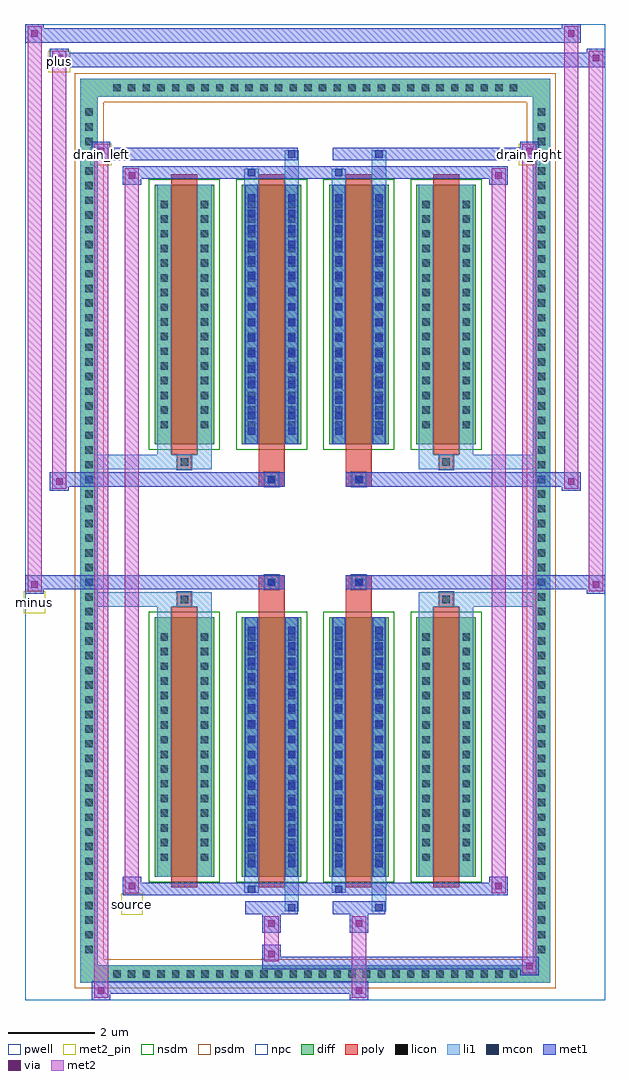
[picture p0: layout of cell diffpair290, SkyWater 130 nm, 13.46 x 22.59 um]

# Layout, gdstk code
import gdstk
lib = gdstk.Library(unit=1e-6, precision=5e-09)
def R(c, l, rs):  # rectangles x0, y0, x1, y1
    for r in rs: c.add(gdstk.rectangle(r[:2], r[2:], *l))
def A(c, l, x, y, w, h, nx, ny, dx, dy):  # array of equal rectangles
    R(c, l, [(x+i*dx, y+j*dy, x+i*dx+w, y+j*dy+h) for i in range(nx) for j in range(ny)])
def P(c, l, *ps):  # polygons
    for p in ps: c.add(gdstk.Polygon(p, *l))
pwell = (64, 44)
diff = (65, 20)
poly = (66, 20)
licon = (66, 44)
li1 = (67, 20)
mcon = (67, 44)
met1 = (68, 20)
via = (68, 44)
met2_pin = (69, 16)
met2 = (69, 20)
nsdm = (93, 44)
psdm = (94, 20)
npc = (95, 20)

diffpair290 = lib.new_cell('diffpair290')
R(diffpair290, pwell, [(-6.71,-10.86,6.71,11.73), (-4.03,-9.05,-0.01,-0.825), (0.01,-9.05,4.03,-0.825), (-4.03,0.825,-0.01,9.05), (0.01,0.825,4.03,9.05)])
A(diffpair290, diff, -4.795, -10.46, 0.41, 0.41, 28, 2, 0.34, 20.51)
A(diffpair290, diff, -5.44, -9.895, 0.41, 0.41, 1, 58, 0, 0.34)
A(diffpair290, diff, 5.03, -9.895, 0.41, 0.41, 1, 58, 0, 0.34)
A(diffpair290, diff, -3.72, -8.005, 1.38, 6, 4, 2, 2.02, 10.01)
R(diffpair290, diff, [(-4.795,-10.46,4.795,-10.05), (-5.44,-9.895,-5.03,9.895), (5.03,-9.895,5.44,9.895), (-4.795,10.05,4.795,10.46)])
P(diffpair290, diff, [(5.44,10.46),(-5.44,10.46),(-5.44,-10.05),(-5.03,-10.05),(-5.03,10.05),(5.03,10.05),(5.03,-10.05),(-5.03,-10.05),(-5.44,-10.05),(-5.44,-10.46),(5.44,-10.46)])
A(diffpair290, poly, -3.33, -8.255, 0.6, 6.5, 4, 2, 2.02, 10.01)
R(diffpair290, poly, [(-3.195,-1.755,-2.865,-1.425), (-3.195,-1.755,-2.865,-1.425), (-1.31,-1.755,-0.71,-1.355), (0.71,-1.755,1.31,-1.355), (2.865,-1.755,3.195,-1.425), (2.865,-1.755,3.195,-1.425), (-1.31,-1.355,-0.71,-1.025), (-1.175,-1.355,-0.845,-1.025), (0.71,-1.355,1.31,-1.025), (0.845,-1.355,1.175,-1.025), (-1.31,1.025,-0.71,1.355), (-1.175,1.025,-0.845,1.355), (0.71,1.025,1.31,1.355), (0.845,1.025,1.175,1.355), (-1.31,1.355,-0.71,1.755), (0.71,1.355,1.31,1.755), (-3.195,1.425,-2.865,1.755), (-3.195,1.425,-2.865,1.755), (2.865,1.425,3.195,1.755), (2.865,1.425,3.195,1.755)])
A(diffpair290, licon, -4.675, -10.34, 0.17, 0.17, 28, 2, 0.34, 20.51)
A(diffpair290, licon, -5.32, -9.775, 0.17, 0.17, 1, 58, 0, 0.34)
A(diffpair290, licon, 5.15, -9.775, 0.17, 0.17, 1, 58, 0, 0.34)
A(diffpair290, licon, -3.58, -7.64, 0.17, 0.17, 1, 16, 0, 0.34)
A(diffpair290, licon, -2.65, -7.64, 0.17, 0.17, 1, 16, 0, 0.34)
A(diffpair290, licon, -1.56, -7.64, 0.17, 0.17, 1, 16, 0, 0.34)
A(diffpair290, licon, -0.63, -7.64, 0.17, 0.17, 1, 16, 0, 0.34)
A(diffpair290, licon, 0.46, -7.64, 0.17, 0.17, 1, 16, 0, 0.34)
A(diffpair290, licon, 1.39, -7.64, 0.17, 0.17, 1, 16, 0, 0.34)
A(diffpair290, licon, 2.48, -7.64, 0.17, 0.17, 1, 16, 0, 0.34)
A(diffpair290, licon, 3.41, -7.64, 0.17, 0.17, 1, 16, 0, 0.34)
A(diffpair290, licon, -3.58, 2.37, 0.17, 0.17, 1, 16, 0, 0.34)
A(diffpair290, licon, -2.65, 2.37, 0.17, 0.17, 1, 16, 0, 0.34)
A(diffpair290, licon, -1.56, 2.37, 0.17, 0.17, 1, 16, 0, 0.34)
A(diffpair290, licon, -0.63, 2.37, 0.17, 0.17, 1, 16, 0, 0.34)
A(diffpair290, licon, 0.46, 2.37, 0.17, 0.17, 1, 16, 0, 0.34)
A(diffpair290, licon, 1.39, 2.37, 0.17, 0.17, 1, 16, 0, 0.34)
A(diffpair290, licon, 2.48, 2.37, 0.17, 0.17, 1, 16, 0, 0.34)
A(diffpair290, licon, 3.41, 2.37, 0.17, 0.17, 1, 16, 0, 0.34)
R(diffpair290, licon, [(-3.115,-1.675,-2.945,-1.505), (2.945,-1.675,3.115,-1.505), (-1.095,-1.275,-0.925,-1.105), (0.925,-1.275,1.095,-1.105), (-1.095,1.105,-0.925,1.275), (0.925,1.105,1.095,1.275), (-3.115,1.505,-2.945,1.675), (2.945,1.505,3.115,1.675)])
A(diffpair290, li1, -4.755, -10.42, 0.33, 0.33, 28, 2, 0.34, 20.51)
A(diffpair290, li1, -5.4, -9.855, 0.33, 0.33, 1, 58, 0, 0.34)
A(diffpair290, li1, 5.07, -9.855, 0.33, 0.33, 1, 58, 0, 0.34)
A(diffpair290, li1, -1.56, -7.79, 0.17, 0.17, 1, 16, 0, 0.36)
A(diffpair290, li1, -0.63, -7.79, 0.17, 0.17, 1, 16, 0, 0.36)
A(diffpair290, li1, 0.46, -7.79, 0.17, 0.17, 1, 16, 0, 0.36)
A(diffpair290, li1, 1.39, -7.79, 0.17, 0.17, 1, 16, 0, 0.36)
A(diffpair290, li1, -3.66, -7.72, 0.33, 0.33, 1, 16, 0, 0.34)
A(diffpair290, li1, -2.73, -7.72, 0.33, 0.33, 1, 16, 0, 0.34)
A(diffpair290, li1, -1.64, -7.72, 0.33, 0.33, 1, 16, 0, 0.34)
A(diffpair290, li1, -0.71, -7.72, 0.33, 0.33, 1, 16, 0, 0.34)
A(diffpair290, li1, 0.38, -7.72, 0.33, 0.33, 1, 16, 0, 0.34)
A(diffpair290, li1, 1.31, -7.72, 0.33, 0.33, 1, 16, 0, 0.34)
A(diffpair290, li1, 2.4, -7.72, 0.33, 0.33, 1, 16, 0, 0.34)
A(diffpair290, li1, 3.33, -7.72, 0.33, 0.33, 1, 16, 0, 0.34)
A(diffpair290, li1, -1.56, 2.22, 0.17, 0.17, 1, 16, 0, 0.36)
A(diffpair290, li1, -0.63, 2.22, 0.17, 0.17, 1, 16, 0, 0.36)
A(diffpair290, li1, 0.46, 2.22, 0.17, 0.17, 1, 16, 0, 0.36)
A(diffpair290, li1, 1.39, 2.22, 0.17, 0.17, 1, 16, 0, 0.36)
A(diffpair290, li1, -3.66, 2.29, 0.33, 0.33, 1, 16, 0, 0.34)
A(diffpair290, li1, -2.73, 2.29, 0.33, 0.33, 1, 16, 0, 0.34)
A(diffpair290, li1, -1.64, 2.29, 0.33, 0.33, 1, 16, 0, 0.34)
A(diffpair290, li1, -0.71, 2.29, 0.33, 0.33, 1, 16, 0, 0.34)
A(diffpair290, li1, 0.38, 2.29, 0.33, 0.33, 1, 16, 0, 0.34)
A(diffpair290, li1, 1.31, 2.29, 0.33, 0.33, 1, 16, 0, 0.34)
A(diffpair290, li1, 2.4, 2.29, 0.33, 0.33, 1, 16, 0, 0.34)
A(diffpair290, li1, 3.33, 2.29, 0.33, 0.33, 1, 16, 0, 0.34)
R(diffpair290, li1, [(-5.44,-10.46,-5.03,-10.05), (-5.44,-10.46,-5.03,-10.05), (-5.03,-10.46,5.03,-10.05), (5.03,-10.46,5.44,-10.05), (5.03,-10.46,5.44,-10.05), (-5.44,-10.05,-5.03,10.05), (5.03,-10.05,5.44,10.05), (-0.71,-8.81,-0.38,-8.005), (-0.63,-8.81,-0.46,-8.64), (1.31,-8.81,1.64,-8.005), (1.39,-8.81,1.56,-8.64), (-1.64,-8.38,-1.31,-8.005), (-1.56,-8.38,-1.39,-8.21), (0.38,-8.38,0.71,-8.005), (0.46,-8.38,0.63,-8.21), (-3.66,-8.005,-3.33,-2.005), (-2.73,-8.005,-2.4,-2.005), (-1.64,-8.005,-1.31,-2.005), (-0.71,-8.005,-0.38,-2.005), (0.38,-8.005,0.71,-2.005), (1.31,-8.005,1.64,-2.005), (2.4,-8.005,2.73,-2.005), (3.33,-8.005,3.66,-2.005), (-1.56,-7.79,-1.39,-2.22), (-0.63,-7.79,-0.46,-2.22), (0.46,-7.79,0.63,-2.22), (1.39,-7.79,1.56,-2.22), (-3.66,-2.005,-3.33,-1.425), (-2.73,-2.005,-2.4,-1.425), (2.4,-2.005,2.73,-1.425), (3.33,-2.005,3.66,-1.425), (-5.44,-1.755,-3.195,-1.425), (-3.66,-1.755,-3.195,-1.425), (-3.195,-1.755,-2.865,-1.425), (-2.865,-1.755,-2.4,-1.425), (2.4,-1.755,2.865,-1.425), (2.865,-1.755,3.195,-1.425), (2.865,-1.755,5.44,-1.425), (3.195,-1.755,3.66,-1.425), (-1.175,-1.355,-0.845,-1.025), (0.845,-1.355,1.175,-1.025), (-1.175,1.025,-0.845,1.355), (0.845,1.025,1.175,1.355), (-5.44,1.425,-3.195,1.755), (-3.66,1.425,-3.195,1.755), (-3.66,1.425,-3.33,2.005), (-3.195,1.425,-2.865,1.755), (-2.865,1.425,-2.4,1.755), (-2.73,1.425,-2.4,2.005), (2.4,1.425,2.865,1.755), (2.4,1.425,2.73,2.005), (2.865,1.425,3.195,1.755), (2.865,1.425,5.44,1.755), (3.195,1.425,3.66,1.755), (3.33,1.425,3.66,2.005), (-3.66,2.005,-3.33,8.005), (-2.73,2.005,-2.4,8.005), (-1.64,2.005,-1.31,8.005), (-0.71,2.005,-0.38,8.005), (0.38,2.005,0.71,8.005), (1.31,2.005,1.64,8.005), (2.4,2.005,2.73,8.005), (3.33,2.005,3.66,8.005), (-1.56,2.22,-1.39,7.79), (-0.63,2.22,-0.46,7.79), (0.46,2.22,0.63,7.79), (1.39,2.22,1.56,7.79), (-1.64,8.005,-1.31,8.38), (-0.71,8.005,-0.38,8.81), (0.38,8.005,0.71,8.38), (1.31,8.005,1.64,8.81), (-1.56,8.21,-1.39,8.38), (0.46,8.21,0.63,8.38), (-0.63,8.64,-0.46,8.81), (1.39,8.64,1.56,8.81), (-5.44,10.05,-5.03,10.46), (-5.44,10.05,-5.03,10.46), (-5.03,10.05,5.03,10.46), (5.03,10.05,5.44,10.46), (5.03,10.05,5.44,10.46)])
A(diffpair290, mcon, -1.56, -7.79, 0.17, 0.17, 1, 16, 0, 0.36)
A(diffpair290, mcon, -0.63, -7.79, 0.17, 0.17, 1, 16, 0, 0.36)
A(diffpair290, mcon, 0.46, -7.79, 0.17, 0.17, 1, 16, 0, 0.36)
A(diffpair290, mcon, 1.39, -7.79, 0.17, 0.17, 1, 16, 0, 0.36)
A(diffpair290, mcon, -1.56, 2.22, 0.17, 0.17, 1, 16, 0, 0.36)
A(diffpair290, mcon, -0.63, 2.22, 0.17, 0.17, 1, 16, 0, 0.36)
A(diffpair290, mcon, 0.46, 2.22, 0.17, 0.17, 1, 16, 0, 0.36)
A(diffpair290, mcon, 1.39, 2.22, 0.17, 0.17, 1, 16, 0, 0.36)
R(diffpair290, mcon, [(-0.63,-8.81,-0.46,-8.64), (1.39,-8.81,1.56,-8.64), (-1.56,-8.38,-1.39,-8.21), (0.46,-8.38,0.63,-8.21), (-1.095,-1.275,-0.925,-1.105), (0.925,-1.275,1.095,-1.105), (-1.095,1.105,-0.925,1.275), (0.925,1.105,1.095,1.275), (-1.56,8.21,-1.39,8.38), (0.46,8.21,0.63,8.38), (-0.63,8.64,-0.46,8.81), (1.39,8.64,1.56,8.81)])
A(diffpair290, met1, -1.62, -7.85, 0.29, 0.29, 1, 16, 0, 0.36)
A(diffpair290, met1, -0.69, -7.85, 0.29, 0.29, 1, 16, 0, 0.36)
A(diffpair290, met1, 0.4, -7.85, 0.29, 0.29, 1, 16, 0, 0.36)
A(diffpair290, met1, 1.33, -7.85, 0.29, 0.29, 1, 16, 0, 0.36)
A(diffpair290, met1, -1.62, 2.16, 0.29, 0.29, 1, 16, 0, 0.36)
A(diffpair290, met1, -0.69, 2.16, 0.29, 0.29, 1, 16, 0, 0.36)
A(diffpair290, met1, 0.4, 2.16, 0.29, 0.29, 1, 16, 0, 0.36)
A(diffpair290, met1, 1.33, 2.16, 0.29, 0.29, 1, 16, 0, 0.36)
R(diffpair290, met1, [(-5.17,-10.86,-4.74,-10.43), (0.795,-10.86,1.225,-10.43), (-5.17,-10.72,1.225,-10.43), (4.74,-10.29,5.17,-9.86), (-1.225,-10.15,5.17,-9.86), (-1.225,-10.01,-0.795,-9.58), (-1.225,-9.3,-0.795,-8.87), (0.795,-9.3,1.225,-8.87), (-1.62,-8.87,-0.4,-8.58), (-0.69,-8.87,-0.4,-8.58), (0.4,-8.87,1.62,-8.58), (1.33,-8.87,1.62,-8.58), (-4.46,-8.44,-4.03,-8.01), (-4.46,-8.44,-1.62,-8.15), (-1.62,-8.44,-1.33,-8.15), (-1.62,-8.44,-0.4,-8.15), (-0.4,-8.44,0.4,-8.15), (0.4,-8.44,0.69,-8.15), (0.4,-8.44,1.62,-8.15), (1.62,-8.44,4.46,-8.15), (4.03,-8.44,4.46,-8.01), (-1.62,-8.005,-1.33,-2.005), (-0.69,-8.005,-0.4,-2.005), (0.4,-8.005,0.69,-2.005), (1.33,-8.005,1.62,-2.005), (-6.71,-1.455,-6.28,-1.025), (6.28,-1.455,6.71,-1.025), (-6.71,-1.355,-0.71,-1.025), (-1.31,-1.355,-0.71,-1.025), (0.71,-1.355,1.31,-1.025), (0.71,-1.355,6.71,-1.025), (-1.155,-1.335,-0.865,-1.045), (0.865,-1.335,1.155,-1.045), (-6.14,0.925,-5.71,1.355), (5.71,0.925,6.14,1.355), (-6.14,1.025,-1.31,1.355), (-1.31,1.025,-0.71,1.355), (0.71,1.025,1.31,1.355), (1.31,1.025,6.14,1.355), (-1.155,1.045,-0.865,1.335), (0.865,1.045,1.155,1.335), (-1.62,2.005,-1.33,8.005), (-0.69,2.005,-0.4,8.005), (0.4,2.005,0.69,8.005), (1.33,2.005,1.62,8.005), (-4.46,8.01,-4.03,8.44), (4.03,8.01,4.46,8.44), (-4.46,8.15,-1.62,8.44), (-1.62,8.15,-1.33,8.44), (-1.62,8.15,-0.4,8.44), (-0.4,8.15,0.4,8.44), (0.4,8.15,0.69,8.44), (0.4,8.15,1.62,8.44), (1.62,8.15,4.46,8.44), (-5.17,8.58,-4.74,9.01), (-5.17,8.58,-1.62,8.87), (-1.62,8.58,-0.4,8.87), (-0.69,8.58,-0.4,8.87), (0.4,8.58,1.62,8.87), (1.33,8.58,1.62,8.87), (1.62,8.58,5.17,8.87), (4.74,8.58,5.17,9.01), (-6.14,10.73,-5.71,11.16), (-6.14,10.73,-4.03,11.06), (-4.03,10.73,4.03,11.06), (4.03,10.73,6.71,11.06), (6.28,10.73,6.71,11.16), (-6.71,11.3,-6.28,11.73), (-6.71,11.3,-4.03,11.63), (-4.03,11.3,4.03,11.63), (4.03,11.3,6.14,11.63), (5.71,11.3,6.14,11.73)])
R(diffpair290, via, [(-5.03,-10.72,-4.88,-10.57), (0.935,-10.72,1.085,-10.57), (4.88,-10.15,5.03,-10), (-1.085,-9.87,-0.935,-9.72), (-1.085,-9.16,-0.935,-9.01), (0.935,-9.16,1.085,-9.01), (-4.32,-8.3,-4.17,-8.15), (4.17,-8.3,4.32,-8.15), (-6.57,-1.315,-6.42,-1.165), (6.42,-1.315,6.57,-1.165), (-6,1.065,-5.85,1.215), (5.85,1.065,6,1.215), (-4.32,8.15,-4.17,8.3), (4.17,8.15,4.32,8.3), (-5.03,8.72,-4.88,8.87), (4.88,8.72,5.03,8.87), (-6,10.87,-5.85,11.02), (6.42,10.87,6.57,11.02), (-6.57,11.44,-6.42,11.59), (5.85,11.44,6,11.59)])
R(diffpair290, met2_pin, [(-4.495,-8.89,-3.995,-8.39), (-6.745,-1.905,-6.245,-1.405), (-5.205,8.46,-4.705,8.96), (4.705,8.46,5.205,8.96), (-6.175,10.61,-5.675,11.11)])
R(diffpair290, met2, [(-5.12,-10.81,-4.79,-10.48), (-5.12,-10.81,-4.79,8.96), (0.845,-10.81,1.175,-10.48), (0.845,-10.48,1.175,-9.25), (4.79,-10.24,5.12,-9.91), (4.79,-10.24,5.12,8.96), (-1.175,-9.96,-0.845,-9.63), (-1.175,-9.63,-0.845,-9.25), (-1.175,-9.25,-0.845,-8.92), (0.845,-9.25,1.175,-8.92), (-4.41,-8.39,-4.08,-8.06), (-4.41,-8.39,-4.08,8.39), (4.08,-8.39,4.41,-8.06), (4.08,-8.39,4.41,8.39), (-6.66,-1.405,-6.33,-1.075), (-6.66,-1.405,-6.33,11.68), (6.33,-1.405,6.66,-1.075), (6.33,-1.405,6.66,11.11), (-6.09,0.975,-5.76,1.305), (-6.09,0.975,-5.76,11.11), (5.76,0.975,6.09,1.305), (5.76,0.975,6.09,11.68), (-4.41,8.06,-4.08,8.39), (4.08,8.06,4.41,8.39), (-5.12,8.63,-4.79,8.96), (4.79,8.63,5.12,8.96), (-6.09,10.78,-5.76,11.11), (6.33,10.78,6.66,11.11), (-6.66,11.35,-6.33,11.68), (5.76,11.35,6.09,11.68)])
P(diffpair290, met2, [(6.66,-1.405),(6.66,-1.405),(6.66,-1.075),(6.66,-1.075)],
  [(6.66,10.78),(6.66,10.78),(6.66,11.11),(6.66,11.11)],
  [(-6.33,-1.405),(-6.33,-1.405),(-6.33,-1.075),(-6.33,-1.075)],
  [(-6.33,11.35),(-6.33,11.35),(-6.33,11.68),(-6.33,11.68)],
  [(6.09,0.975),(6.09,0.975),(6.09,1.305),(6.09,1.305)],
  [(6.09,11.35),(6.09,11.35),(6.09,11.68),(6.09,11.68)],
  [(-5.76,0.975),(-5.76,0.975),(-5.76,1.305),(-5.76,1.305)],
  [(-5.76,10.78),(-5.76,10.78),(-5.76,11.11),(-5.76,11.11)],
  [(-4.79,-10.81),(-4.79,-10.81),(-4.79,-10.48),(-4.79,-10.48)],
  [(-4.79,8.63),(-4.79,8.63),(-4.79,8.96),(-4.79,8.96)],
  [(5.12,-10.24),(5.12,-10.24),(5.12,-9.91),(5.12,-9.91)],
  [(5.12,8.63),(5.12,8.63),(5.12,8.96),(5.12,8.96)],
  [(-4.08,-8.39),(-4.08,-8.39),(-4.08,-8.06),(-4.08,-8.06)],
  [(-4.08,8.06),(-4.08,8.06),(-4.08,8.39),(-4.08,8.39)],
  [(4.41,-8.39),(4.41,-8.39),(4.41,-8.06),(4.41,-8.06)],
  [(4.41,8.06),(4.41,8.06),(4.41,8.39),(4.41,8.39)])
A(diffpair290, nsdm, -3.85, -8.135, 1.64, 6.26, 4, 2, 2.02, 10.01)
P(diffpair290, psdm, [(5.57,10.59),(-5.57,10.59),(-5.57,-9.92),(-4.9,-9.92),(-4.9,9.92),(4.9,9.92),(4.9,-9.92),(-4.9,-9.92),(-5.57,-9.92),(-5.57,-10.59),(5.57,-10.59)])
R(diffpair290, npc, [(-3.215,-1.775,-2.845,-1.405), (2.845,-1.775,3.215,-1.405), (-1.195,-1.375,-0.825,-1.005), (0.825,-1.375,1.195,-1.005), (-1.195,1.005,-0.825,1.375), (0.825,1.005,1.195,1.375), (-3.215,1.405,-2.845,1.775), (2.845,1.405,3.215,1.775)])
diffpair290.add(gdstk.Label('minus', (-6.495,-1.655), layer=69, texttype=5))
diffpair290.add(gdstk.Label('drain_right', (4.955,8.71), layer=69, texttype=5))
diffpair290.add(gdstk.Label('drain_left', (-4.955,8.71), layer=69, texttype=5))
diffpair290.add(gdstk.Label('source', (-4.245,-8.64), layer=69, texttype=5))
diffpair290.add(gdstk.Label('plus', (-5.925,10.86), layer=69, texttype=5))

lib.write_gds('diffpair290.gds')
